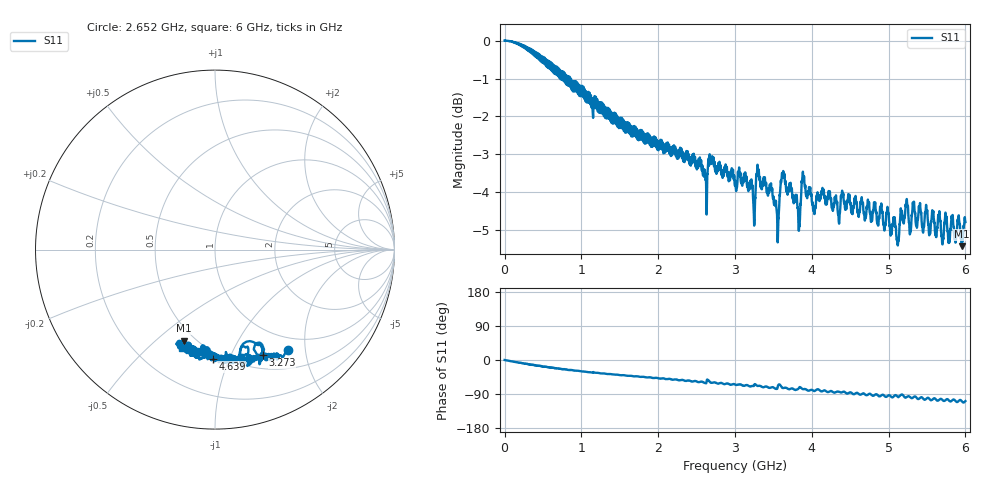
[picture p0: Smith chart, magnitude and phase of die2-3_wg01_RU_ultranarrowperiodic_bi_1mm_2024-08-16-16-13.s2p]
!Keysight Technologies,P9374A,MY57304198,A.17.20.09
!Date: Friday, August 16, 2024 16:13:14
!Correction: S11(C  1-Port  )
!S21(C  1-Port  )
!S12(Off)
!S22(Off)
!S2P File: Measurements: S11, S21, S12, S22:
# Hz S  dB  R 50
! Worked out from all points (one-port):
!   6000 points, 300 kHz to 6 GHz, reference 50 ohm
!   lowest |S11| = -5.4 dB at 5.953 GHz (marker M1), VSWR 3.31, Z = 21.8 - j31.1 ohm
!   |S11| at or under -10 dB: nowhere
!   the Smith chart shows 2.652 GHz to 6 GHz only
!   S11 on the Smith chart (normalised r, x): 2.652 GHz: 0.79, -1.69; 3.273 GHz: 0.66, -1.33; 4.639 GHz: 0.45, -0.87; 6 GHz: 0.39, -0.65
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300000  -0.00 -0.0  -200.00 45.0  -200.00 45.0  -200.00 45.0
4.903572e8  -0.42 -16.4  -200.00 45.0  -200.00 45.0  -200.00 45.0
1.000417e9  -1.44 -30.2  -200.00 45.0  -200.00 45.0  -200.00 45.0
2.000533e9  -2.87 -48.1  -200.00 45.0  -200.00 45.0  -200.00 45.0
2.602604e9  -3.55 -60.3  -200.00 45.0  -200.00 45.0  -200.00 45.0
2.651609e9  -3.20 -53.9  -200.00 45.0  -200.00 45.0  -200.00 45.0
2.696615e9  -3.23 -60.2  -200.00 45.0  -200.00 45.0  -200.00 45.0
3.00065e9  -3.82 -64.4  -200.00 45.0  -200.00 45.0  -200.00 45.0
3.272682e9  -3.79 -65.7  -200.00 45.0  -200.00 45.0  -200.00 45.0
3.526711e9  -4.35 -75.7  -200.00 45.0  -200.00 45.0  -200.00 45.0
3.588719e9  -3.94 -66.1  -200.00 45.0  -200.00 45.0  -200.00 45.0
3.631724e9  -3.56 -73.9  -200.00 45.0  -200.00 45.0  -200.00 45.0
3.789742e9  -4.10 -79.1  -200.00 45.0  -200.00 45.0  -200.00 45.0
3.833747e9  -4.95 -73.0  -200.00 45.0  -200.00 45.0  -200.00 45.0
3.891754e9  -3.63 -76.8  -200.00 45.0  -200.00 45.0  -200.00 45.0
4.000767e9  -4.25 -78.8  -200.00 45.0  -200.00 45.0  -200.00 45.0
4.638841e9  -4.29 -91.3  -200.00 45.0  -200.00 45.0  -200.00 45.0
5.000883e9  -4.55 -93.4  -200.00 45.0  -200.00 45.0  -200.00 45.0
5.171903e9  -4.50 -91.2  -200.00 45.0  -200.00 45.0  -200.00 45.0
5.469938e9  -4.66 -104.9  -200.00 45.0  -200.00 45.0  -200.00 45.0
5.952995e9  -5.42 -108.8  -200.00 45.0  -200.00 45.0  -200.00 45.0
6e9  -4.78 -108.4  -200.00 45.0  -200.00 45.0  -200.00 45.0
